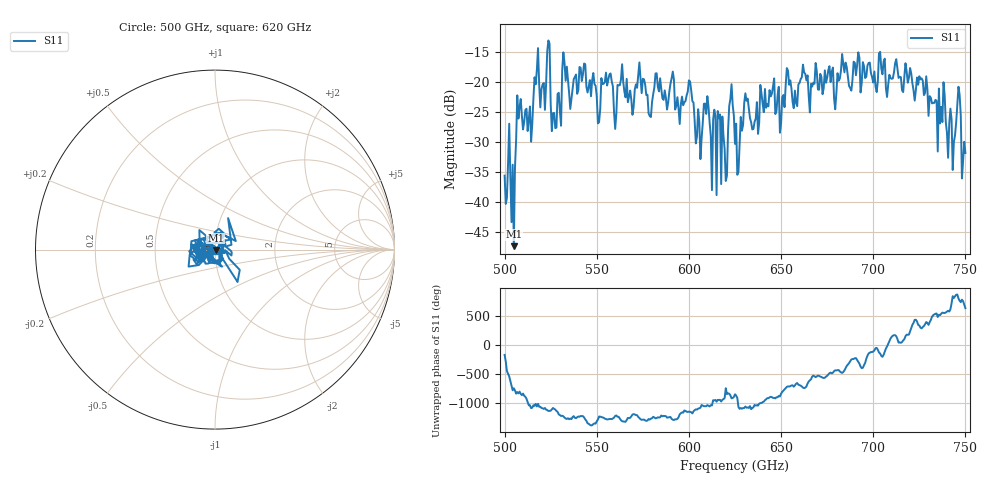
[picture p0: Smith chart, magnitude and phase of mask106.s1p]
!Created with skrf (http://scikit-rf.org).
# GHz S MA R 50.0
!freq magS11 angS11
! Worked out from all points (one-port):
!   401 points, 500 GHz to 750 GHz, reference 50 ohm
!   lowest |S11| = -47.3 dB at 505 GHz (marker M1), VSWR 1.01, Z = 50.4 - j0.189 ohm
!   |S11| at or under -10 dB: start of sweep to end of sweep
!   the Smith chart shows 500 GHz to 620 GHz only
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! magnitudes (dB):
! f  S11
! 500 GHz  -35.6
! 505 GHz  -47.3
! 508.1 GHz  -24.2
! 513.8 GHz  -24.1
! 516.9 GHz  -20.4
! 520.6 GHz  -20.5
! 523.8 GHz  -13.2
! 526.9 GHz  -25.2
! 531.2 GHz  -18.1
! 542.5 GHz  -18.8
! 550.6 GHz  -26.9
! 562.5 GHz  -20.6
! 578.8 GHz  -25.7
! 590.6 GHz  -19.4
! 593.8 GHz  -22.6
! 600 GHz  -19.8
! 605 GHz  -24.6
! 609.4 GHz  -25.4
! 620 GHz  -36.5
! 623.1 GHz  -20.4
! 625 GHz  -30.3
! 631.2 GHz  -23.2
! 656.2 GHz  -23.4
! 687.5 GHz  -21.1
! 718.8 GHz  -20.2
! 741.9 GHz  -24.5
! 746.2 GHz  -20.8
! 750 GHz  -31.8
